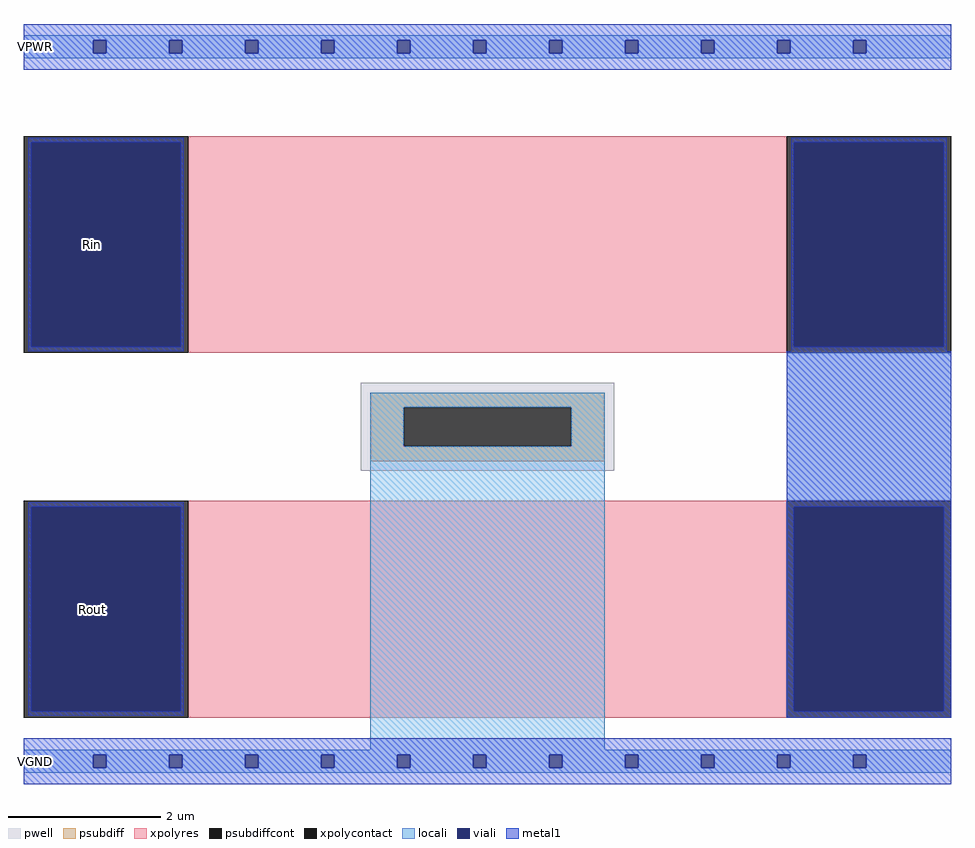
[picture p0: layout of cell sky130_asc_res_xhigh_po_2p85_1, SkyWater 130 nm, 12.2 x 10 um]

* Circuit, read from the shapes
.subckt sky130_asc_res_xhigh_po_2p85_1 Rin Rout VPWR VGND
XR1 n1 Rout VGND sky130_fd_pr__res_xhigh_po w=2.85 l=7.88
XR2 n1 Rin VGND sky130_fd_pr__res_xhigh_po w=2.85 l=7.88
.ends

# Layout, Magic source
magic
tech sky130A
magscale 1 2
<< pwell >>
rect 1026 764 1694 996
<< psubdiff >>
rect 1052 931 1668 970
rect 1052 829 1139 931
rect 1581 829 1668 931
rect 1052 790 1668 829
<< psubdiffcont >>
rect 1139 829 1581 931
<< xpolycontact >>
rect 140 1075 572 1645
rect 2148 1075 2580 1645
rect 140 115 572 685
rect 2148 115 2580 685
<< xpolyres >>
rect 572 1075 2148 1645
rect 572 115 2148 685
<< locali >>
rect 140 1897 2580 1910
rect 140 1863 323 1897
rect 357 1863 523 1897
rect 557 1863 723 1897
rect 757 1863 923 1897
rect 957 1863 1123 1897
rect 1157 1863 1323 1897
rect 1357 1863 1523 1897
rect 1557 1863 1723 1897
rect 1757 1863 1923 1897
rect 1957 1863 2123 1897
rect 2157 1863 2323 1897
rect 2357 1863 2580 1897
rect 140 1850 2580 1863
rect 1052 931 1668 970
rect 1052 829 1139 931
rect 1581 829 1668 931
rect 1052 30 1668 829
rect 2148 685 2580 1075
rect 140 17 2580 30
rect 140 -17 323 17
rect 357 -17 523 17
rect 557 -17 723 17
rect 757 -17 923 17
rect 957 -17 1123 17
rect 1157 -17 1323 17
rect 1357 -17 1523 17
rect 1557 -17 1723 17
rect 1757 -17 1923 17
rect 1957 -17 2123 17
rect 2157 -17 2323 17
rect 2357 -17 2580 17
rect 140 -30 2580 -17
<< viali >>
rect 323 1863 357 1897
rect 523 1863 557 1897
rect 723 1863 757 1897
rect 923 1863 957 1897
rect 1123 1863 1157 1897
rect 1323 1863 1357 1897
rect 1523 1863 1557 1897
rect 1723 1863 1757 1897
rect 1923 1863 1957 1897
rect 2123 1863 2157 1897
rect 2323 1863 2357 1897
rect 159 1091 553 1629
rect 2166 1091 2560 1629
rect 159 131 553 669
rect 2166 131 2560 669
rect 323 -17 357 17
rect 523 -17 557 17
rect 723 -17 757 17
rect 923 -17 957 17
rect 1123 -17 1157 17
rect 1323 -17 1357 17
rect 1523 -17 1557 17
rect 1723 -17 1757 17
rect 1923 -17 1957 17
rect 2123 -17 2157 17
rect 2323 -17 2357 17
<< metal1 >>
rect 140 1897 2580 1940
rect 140 1863 323 1897
rect 357 1863 523 1897
rect 557 1863 723 1897
rect 757 1863 923 1897
rect 957 1863 1123 1897
rect 1157 1863 1323 1897
rect 1357 1863 1523 1897
rect 1557 1863 1723 1897
rect 1757 1863 1923 1897
rect 1957 1863 2123 1897
rect 2157 1863 2323 1897
rect 2357 1863 2580 1897
rect 140 1820 2580 1863
rect 151 1629 561 1641
rect 151 1091 159 1629
rect 553 1091 561 1629
rect 151 1079 561 1091
rect 2159 1629 2569 1641
rect 2159 1091 2166 1629
rect 2560 1091 2569 1629
rect 2159 1079 2569 1091
rect 151 669 561 681
rect 151 131 159 669
rect 553 131 561 669
rect 151 119 561 131
rect 2148 669 2580 1079
rect 2148 131 2166 669
rect 2560 131 2580 669
rect 2148 115 2580 131
rect 140 17 2580 60
rect 140 -17 323 17
rect 357 -17 523 17
rect 557 -17 723 17
rect 757 -17 923 17
rect 957 -17 1123 17
rect 1157 -17 1323 17
rect 1357 -17 1523 17
rect 1557 -17 1723 17
rect 1757 -17 1923 17
rect 1957 -17 2123 17
rect 2157 -17 2323 17
rect 2357 -17 2580 17
rect 140 -60 2580 -17
<< labels >>
flabel metal1 s 260 1300 380 1420 1 FreeSans 750 0 0 0 Rin
port 1 nsew
flabel metal1 s 260 340 380 460 1 FreeSans 750 0 0 0 Rout
port 2 nsew
flabel metal1 s 140 1850 200 1910 1 FreeSans 1250 0 0 0 VPWR
port 3 nsew
flabel metal1 s 140 -30 200 30 1 FreeSans 1250 0 0 0 VGND
port 4 nsew
<< properties >>
string FIXED_BBOX 0 0 2720 1880
<< end >>
